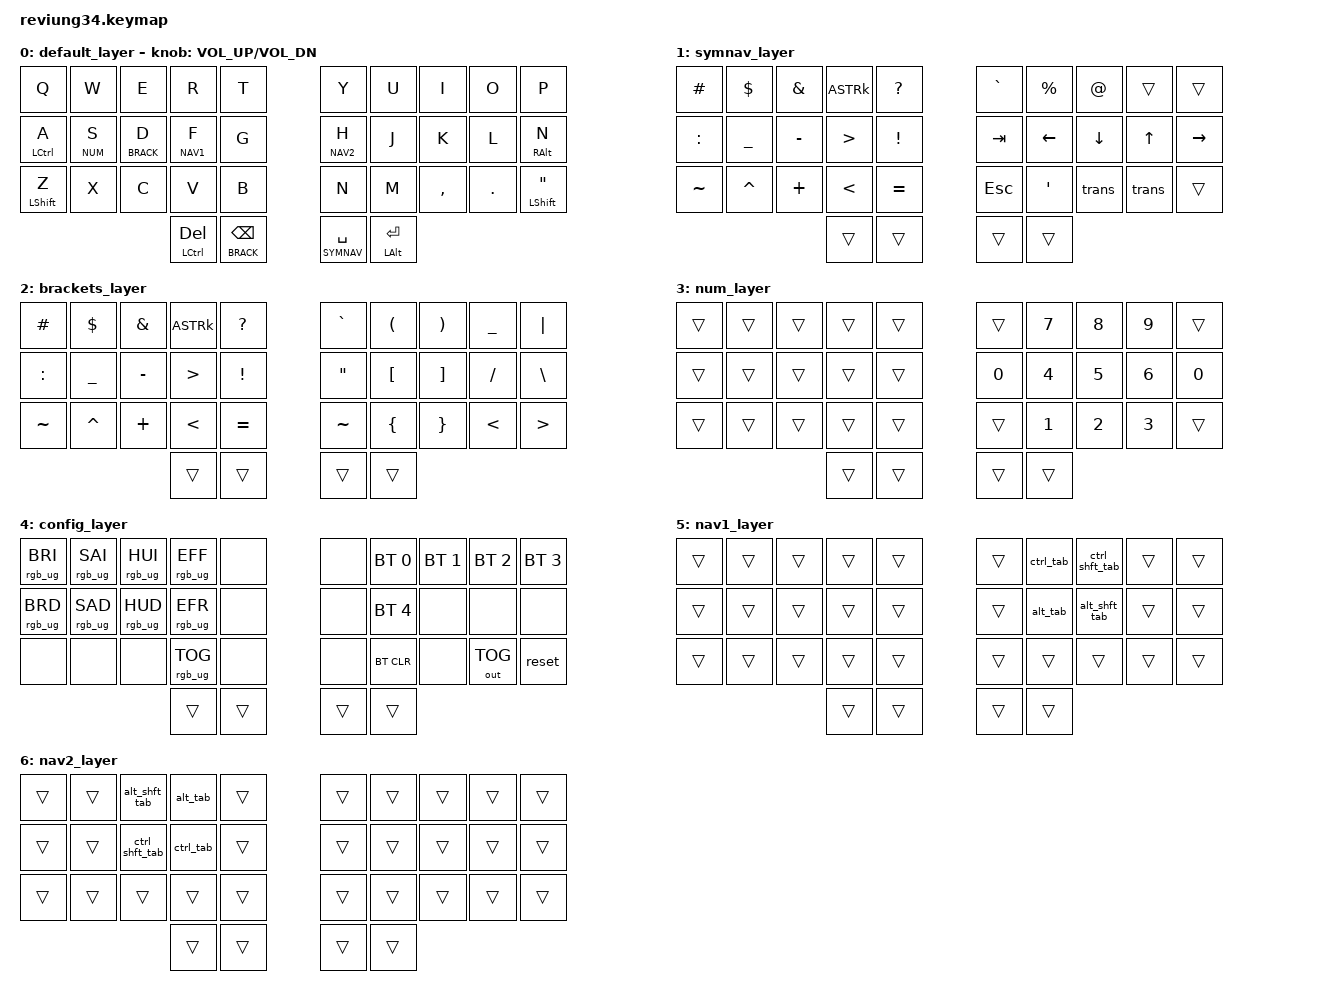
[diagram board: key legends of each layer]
/*
 * Copyright (c) 2020 The ZMK Contributors
 *
 * SPDX-License-Identifier: MIT
 */

#include <behaviors.dtsi>
#include <dt-bindings/zmk/keys.h>
#include <dt-bindings/zmk/bt.h>
#include <dt-bindings/zmk/rgb.h>
#include <dt-bindings/zmk/outputs.h>



#define DEFAULT 0
#define SYMNAV 1
#define BRACK 2
#define NUM 3
#define CONFIG 4
#define NAV1 5
#define NAV2 6

&mt {
    tapping-term-ms = <165>;
};

/ {
    macros {
            ZMK_MACRO(alt_tab,
              wait-ms = <30>;
              tap-ms = <40>;
              bindings =  <&macro_press &kp LALT>,
                <&macro_tap &kp TAB>
                , <&macro_release &kp LALT>;
            ),
            ZMK_MACRO(alt_shft_tab,
              wait-ms = <30>;
              tap-ms = <40>;
              bindings =  <&macro_press &kp LALT &kp LSHFT>,
                    <&macro_tap &kp TAB>, 
                    <&macro_release &kp LALT &kp LSHFT>;
            ),
            ZMK_MACRO(ctrl_tab,
              wait-ms = <30>;
              tap-ms = <40>;
              bindings =  <&macro_press &kp LCTRL>,
                <&macro_tap &kp TAB>
                , <&macro_release &kp LCTRL >;
            ),
            ZMK_MACRO(ctrl_shft_tab,
              wait-ms = <30>;
              tap-ms = <40>;
              bindings =  <&macro_press &kp LCTRL &kp LSHFT>,
                    <&macro_tap &kp TAB>, 
                    <&macro_release &kp LCTRL &kp LSHFT>;
            )
        };
    conditional_layers {
        compatible = "zmk,conditional-layers";
        tri_layer {
            if-layers = <BRACK SYMNAV>;
            then-layer = <CONFIG>;
            };
        };
    behaviors {
        hm: homerow_mods {
            compatible = "zmk,behavior-hold-tap";
            label = "HOMEROW_MODS";
            #binding-cells = <2>;
            tapping-term-ms = <150>;
            quick-tap-ms = <0>;
            flavor = "tap-preferred";
            bindings = <&kp>, <&kp>;
        };
    };

    keymap {
        compatible = "zmk,keymap";

default_layer {
// ------------------------------------
// | Q       | W      | E        | R       | T |      | Y | U       | I | O | P       |
// | CTRL(A) | NUM(S) | BRACK(D) | NAV1(F) | G |      | H | NAV2(J) | K | L | ALT(;)  |
// | SHFT(Z) | X      | C        | V       | B |      | N | M       | , | . | SHFT(") |
//                               |         |   |      |   |         |   |

    bindings = <
   &kp Q        &kp W      &kp E        &kp R          &kp T                 &kp Y       &kp U  &kp I      &kp O    &kp P
   &hm LCTRL A  &lt NUM S  &hm BRACK D  &hm NAV1 F     &kp G                 &hm NAV2 H  &kp J  &kp K      &kp L    &hm RALT N
   &mt LSHFT Z  &kp X      &kp C        &kp V          &kp B                 &kp N       &kp M  &kp COMMA  &kp DOT  &mt LSHFT DQT
                                        &mt LCTRL DEL  &mt BRACK BSPC       &lt SYMNAV SPACE  &mt LALT  RET
                        >;
                        sensor-bindings = <&inc_dec_kp C_VOL_UP C_VOL_DN>;
    };

symnav_layer {
// ------------------------------------
// | # | $ | & | * | ? |      | `   |  %  | @  |    |     |
// | : | _ | - | > | ! |      | TAB | LFT | DN | UP | RGT |
// | ~ | ^ | + | < | = |      | ESC | '   | ,  | .  |     |
//             |   |   |      |     |     |
bindings = <
   &kp HASH   &kp DLLR   &kp AMPS   &kp ASTRk  &kp QMARK     &kp GRAVE  &kp PRCNT  &kp AT     &trans    &trans
   &kp COLON  &kp UNDER  &kp MINUS  &kp GT     &kp EXCL      &kp TAB    &kp LEFT   &kp DOWN   &kp UP    &kp RIGHT
   &kp TILDE  &kp CARET  &kp PLUS   &kp LT     &kp EQUAL     &kp ESC    &kp APOS   &kp trans  &kp trans  &trans 
                                    &trans     &trans        &trans     &trans
>;
};

brackets_layer {
// ------------------------------------
//  | # | $ | & | * | ? |      | ` | ( | ) | " | | |
//  | : | _ | - | > | ! |      | " | [ | ] | / | \ |
//  | ~ | ^ | + | < | = |      | ~ | { | } | < | > |
//              |   |   |      |   |   |
bindings = <
   &kp HASH   &kp DLLR   &kp AMPS   &kp ASTRk  &kp QMARK     &kp GRAVE  &kp LPAR  &kp RPAR  &kp UNDER  &kp PIPE
   &kp COLON  &kp UNDER  &kp MINUS  &kp GT     &kp EXCL      &kp DQT    &kp LBKT  &kp RBKT  &kp FSLH   &kp BSLH
   &kp TILDE  &kp CARET  &kp PLUS   &kp LT     &kp EQUAL     &kp TILDE  &kp LBRC  &kp RBRC  &kp LT     &kp GT 
                                    &trans     &trans        &trans     &trans
>;
};

num_layer {
// ------------------------------------
// | | | | | |      |   | 7 | 8 | 9 |   |
// | | | | | |      | 0 | 4 | 5 | 6 | 0 |
// | | | | | |      |   | 1 | 2 | 3 |   |
//       | | |      |   |   |
bindings = <
   &trans &trans &trans &trans &trans     &trans  &kp N7  &kp N8  &kp N9  &trans 
   &trans &trans &trans &trans &trans     &kp N0  &kp N4  &kp N5  &kp N6  &kp N0
   &trans &trans &trans &trans &trans     &trans  &kp N1  &kp N2  &kp N3  &trans 
                        &trans &trans     &trans   &trans
>;
};


config_layer {
// -----------------------------------------------------------------------------------------
// | RGB BRI+ | RGB SAT+ | RGB HUE+ | RGB ANI+ |    | BT1  | BT2 | BT3 | BT4 |
// | RGB BRI- | RGB SAT- | RGB HUE- | RGB ANI+ |    | BT5   |       |     |     |
// |          |          |          | RGB TOG  |    | BT CLR |     |     | RESET     |
//                                              |     |     |     |     |     |
                        bindings = <
   &rgb_ug RGB_BRI &rgb_ug RGB_SAI &rgb_ug RGB_HUI &rgb_ug RGB_EFF &none &none &bt BT_SEL 0 &bt BT_SEL 1 &bt BT_SEL 2 &bt BT_SEL 3
   &rgb_ug RGB_BRD &rgb_ug RGB_SAD &rgb_ug RGB_HUD &rgb_ug RGB_EFR &none &none &bt BT_SEL 4 &none &none        &none
   &none           &none           &none           &rgb_ug RGB_TOG &none &none &bt BT_CLR   &none &out OUT_TOG        &reset
                                                             &trans      &trans               &trans      &trans
                        >;
                };

nav1_layer {
    // ------------------------------------
    // | | | | |      |  | ctrl_tab  | ctrl_sft_tab  |  |  |
    // | | | | |      |  | alt_tab   | alt_shft_tab  |  |  |
    // | | | | |      |  |           |               |  |  |
    //     | | |      |  |           |
    bindings = <
    &trans &trans &trans &trans &trans     &trans  &ctrl_tab  &ctrl_shft_tab  &trans  &trans 
    &trans &trans &trans &trans &trans     &trans  &alt_tab   &alt_shft_tab   &trans  &trans
    &trans &trans &trans &trans &trans     &trans  &trans     &trans          &trans  &trans 
                         &trans &trans     &trans  &trans
    >;
};
nav2_layer {
    // ------------------------------------
    // | | | ctrl_sft_tab      | ctrl_tab     | |      |  |  |  |  |  |
    // | | | ctrl_alt_shft_tab | ctrl_alt_tab | |      |  |  |  |  |  |
    // | | |                   |              | |      |  |  |  |  |  |
    //                         |              | |      |  |  |
    bindings = <
    &trans &trans &alt_shft_tab   &alt_tab   &trans     &trans  &trans  &trans  &trans  &trans 
    &trans &trans &ctrl_shft_tab  &ctrl_tab  &trans     &trans  &trans  &trans  &trans  &trans
    &trans &trans &trans          &trans     &trans     &trans  &trans  &trans  &trans  &trans 
                                  &trans     &trans     &trans  &trans
    >;
};

    };
};
